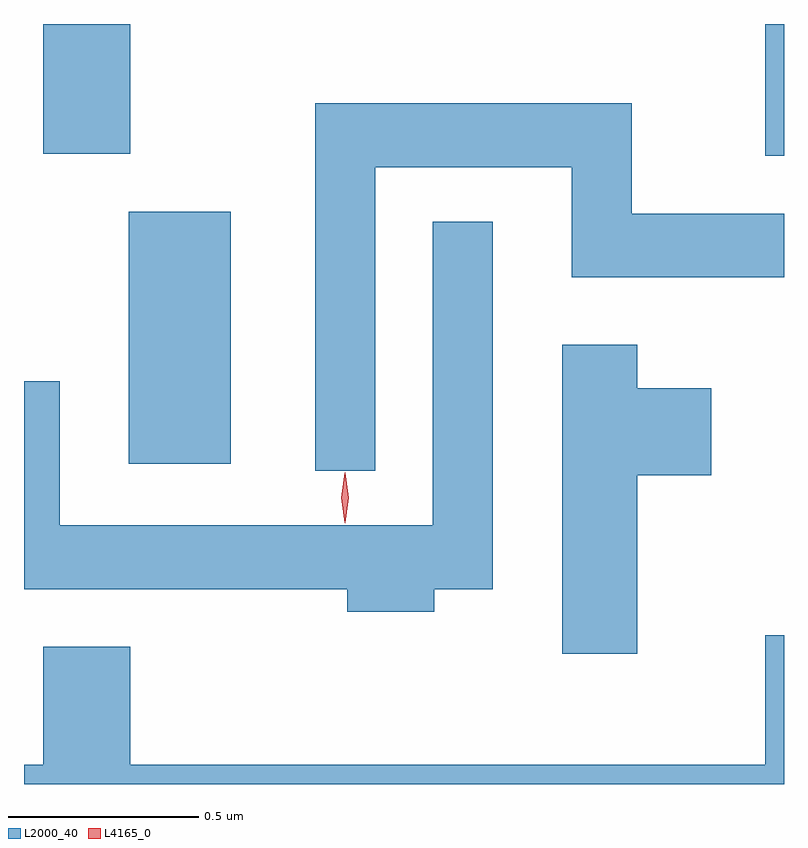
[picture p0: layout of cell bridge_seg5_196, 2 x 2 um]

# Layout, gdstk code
import gdstk
lib = gdstk.Library(unit=1e-6, precision=1e-09)
def R(c, l, rs):  # rectangles x0, y0, x1, y1
    for r in rs: c.add(gdstk.rectangle(r[:2], r[2:], *l))
def P(c, l, *ps):  # polygons
    for p in ps: c.add(gdstk.Polygon(p, *l))
L2000_40 = (2000, 40)
L4165_0 = (4165, 0)

bridge_seg5_196 = lib.new_cell('bridge_seg5_196')
R(bridge_seg5_196, L2000_40, [(1238.316,1420.116,1238.584,1420.779), (1239.991,1420.926,1240.04,1421.273), (1238.091,1420.931,1238.319,1421.273)])
P(bridge_seg5_196, L2000_40, [(1238.964,1420.896),(1239.481,1420.896),(1239.481,1420.606),(1240.04,1420.606),(1240.04,1420.774),(1239.639,1420.774),(1239.639,1421.064),(1238.806,1421.064),(1238.806,1420.098),(1238.964,1420.098)],
  [(1239.119,1419.786),(1239.274,1419.786),(1239.274,1420.753),(1239.116,1420.753),(1239.116,1419.954),(1238.134,1419.954),(1238.134,1420.333),(1238.04,1420.333),(1238.04,1419.786),(1238.891,1419.786),(1238.891,1419.726),(1239.119,1419.726)],
  [(1239.654,1420.086),(1239.849,1420.086),(1239.849,1420.314),(1239.654,1420.314),(1239.654,1420.429),(1239.456,1420.429),(1239.456,1419.616),(1239.654,1419.616)],
  [(1240.04,1419.664),(1239.991,1419.664),(1239.991,1419.324),(1238.319,1419.324),(1238.319,1419.634),(1238.091,1419.634),(1238.091,1419.324),(1238.04,1419.324),(1238.04,1419.273),(1240.04,1419.273)])
P(bridge_seg5_196, L4165_0, [(1238.885,1419.959),(1238.884,1419.96),(1238.875,1420.026),(1238.884,1420.092),(1238.885,1420.093),(1238.886,1420.092),(1238.895,1420.026),(1238.886,1419.96)])

lib.write_gds('bridge_seg5_196.gds')
